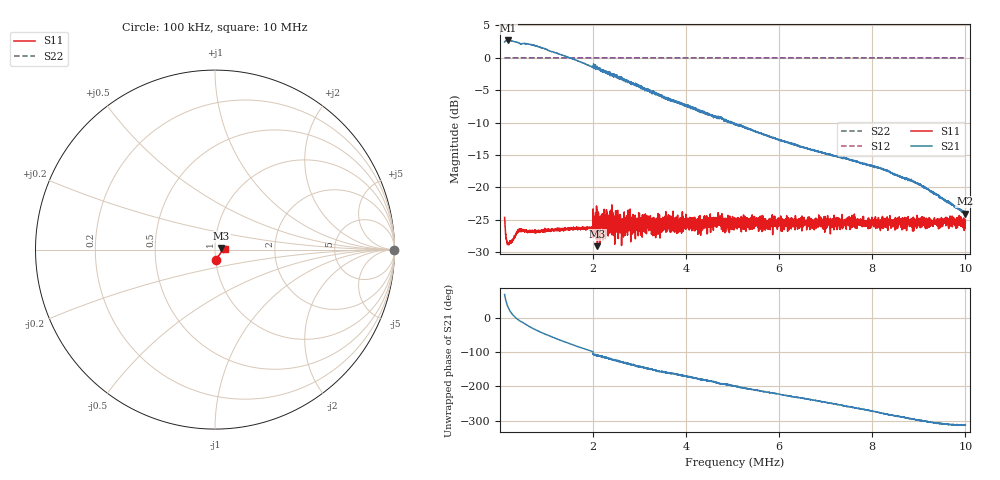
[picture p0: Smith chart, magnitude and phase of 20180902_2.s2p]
! Anritsu VNA Master:  Model: MS2026C/19
! SN:  1815009
! /card0/usr/20180902_2.s2p
! Existing Calibration Information:
! TYPE:  Current Settings,  Active Cal Settings
! TIME:  09/02/2018 12:28:39 PM,  09/02/2018 11:58:48 AM
! INTERNAL TEMP:  52.0 C,  48.8 C
! # POINTS:  4001,  4001
! START FREQ:  100.000 kHz,  100.000 kHz
! STOP FREQ:  10.000 MHz,  10.000 MHz
! SOURCE POWER:  Low,  Low
! IFBW:  500 Hz,  500 Hz
! AVG FACTOR:  5 ,  1
! REF PLANE 1:  0 mm,  0 mm
! REF PLANE 2:  0 mm,  0 mm
! CAL TYPE:  1P2P S11,S21,  1P2P S11,S21
! CAL METHOD:  SOLT,  SOLT
! CAL LINE TYPE:  Coax,  Coax
! DUT PORT 1:  N-Conn(M),  N-Conn(M)
! DUT PORT 2:  N-Conn(M),  N-Conn(M)
! CAL STATUS:  OK: Accuracy High,  --
# GHZ S RI R 50.0
! FREQ.GHZ  S11RE  S11IM  S21RE  S21IM  S12RE  S12IM  S22RE  S22IM
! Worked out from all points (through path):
!   4001 points, 100 kHz to 10 MHz, reference 50 ohm
!   highest |S21| = 2.68 dB at 181.7 kHz (marker M1); lowest = -24.0 dB at 9.988 MHz (marker M2)
!   group delay of S21, straight-line fit = 85.2 ns
!   lowest |S11| = -29.1 dB at 2.095 MHz (marker M3), VSWR 1.07, Z = 53.6 + j0.83 ohm
!   |S11| at or under -10 dB: start of sweep to end of sweep
!   |S22| runs from 0.0 to 0.0 dB; largest |S21 - S12| = 1.5
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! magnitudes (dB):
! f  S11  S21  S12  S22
! 100 kHz  -24.6  2.4  0.0  0.0
! 154.4 kHz  -28.7  2.6  0.0  0.0
! 181.7 kHz  -28.6  2.7  0.0  0.0
! 426.7 kHz  -26.6  2.2  0.0  0.0
! 812.8 kHz  -26.7  1.8  0.0  0.0
! 1.751 MHz  -26.2  -0.7  0.0  0.0
! 1.951 MHz  -26.4  -1.3  0.0  0.0
! 2.095 MHz  -29.1  -1.5  0.0  0.0
! 2.382 MHz  -26.3  -2.5  0.0  0.0
! 2.644 MHz  -27.2  -3.4  0.0  0.0
! 2.793 MHz  -25.7  -3.8  0.0  0.0
! 2.921 MHz  -25.4  -4.1  0.0  0.0
! 3.107 MHz  -26.3  -4.8  0.0  0.0
! 3.402 MHz  -26.5  -5.7  0.0  0.0
! 3.679 MHz  -25.6  -6.5  0.0  0.0
! 3.798 MHz  -25.9  -6.9  0.0  0.0
! 5.05 MHz  -24.9  -10.2  0.0  0.0
! 6.701 MHz  -25.9  -14.3  0.0  0.0
! 8.352 MHz  -25.7  -17.5  0.0  0.0
! 9.027 MHz  -25.2  -19.5  0.0  0.0
! 9.988 MHz  -25.1  -24.0  0.0  0.0
! 10 MHz  -25.0  -23.9  0.0  0.0
